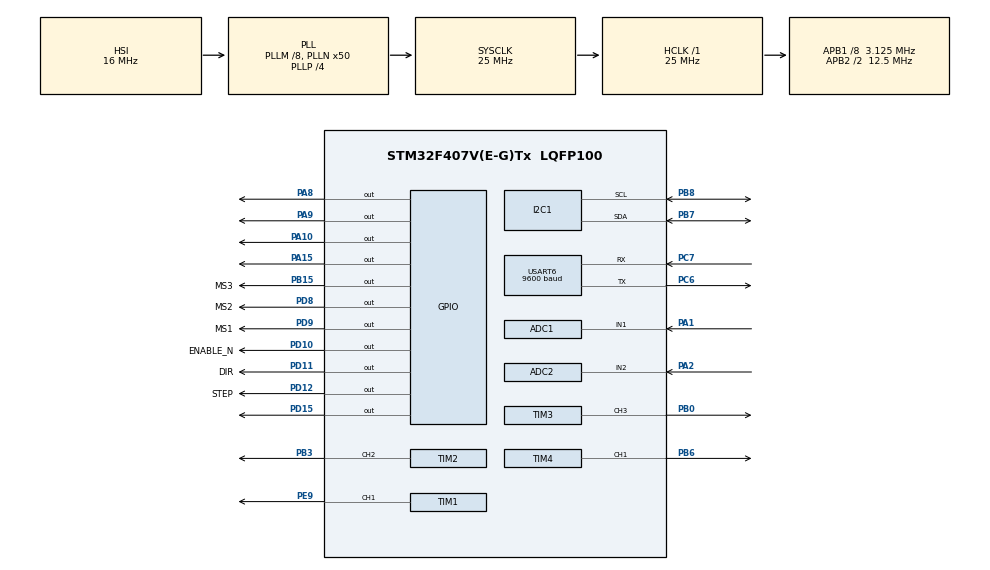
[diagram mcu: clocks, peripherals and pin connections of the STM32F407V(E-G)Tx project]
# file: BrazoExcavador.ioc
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ADC1.Channel-0\#ChannelRegularConversion=ADC_CHANNEL_1
ADC1.ContinuousConvMode=DISABLE
ADC1.Mode=ADC_DUALMODE_REGSIMULT
ADC1.NbrOfConversionFlag=1
ADC1.Rank-0\#ChannelRegularConversion=1
ADC1.SamplingTime-0\#ChannelRegularConversion=ADC_SAMPLETIME_3CYCLES
ADC1.master=1
ADC2.Channel-0\#ChannelRegularConversion=ADC_CHANNEL_2
ADC2.ContinuousConvMode=DISABLE
ADC2.Mode=ADC_DUALMODE_REGSIMULT
ADC2.NbrOfConversionFlag=1
ADC2.Rank-0\#ChannelRegularConversion=1
ADC2.SamplingTime-0\#ChannelRegularConversion=ADC_SAMPLETIME_3CYCLES
Mcu.Family=STM32F4
Mcu.Name=STM32F407V(E-G)Tx
Mcu.Package=LQFP100
NVIC.PriorityGroup=NVIC_PRIORITYGROUP_0
NVIC.USART6_IRQn=true\:0\:0\:false\:false\:true\:true\:true\:true
PA1.Signal=ADCx_IN1
PA10.Signal=GPIO_Output
PA15.Signal=GPIO_Output
PA2.Signal=ADCx_IN2
PA8.Signal=GPIO_Output
PA9.Signal=GPIO_Output
PB0.Signal=S_TIM3_CH3
PB15.GPIO_Label=MS3
PB15.Signal=GPIO_Output
PB3.Signal=S_TIM2_CH2
PB6.Signal=S_TIM4_CH1
PB7.Mode=I2C
PB7.Signal=I2C1_SDA
PB8.Mode=I2C
PB8.Signal=I2C1_SCL
PC6.Mode=Asynchronous
PC6.Signal=USART6_TX
PC7.Mode=Asynchronous
PC7.Signal=USART6_RX
PD10.GPIO_Label=ENABLE_N
PD10.Signal=GPIO_Output
PD11.GPIO_Label=DIR
PD11.Signal=GPIO_Output
PD12.GPIO_Label=STEP
PD12.Signal=GPIO_Output
PD15.Signal=GPIO_Output
PD8.GPIO_Label=MS2
PD8.Signal=GPIO_Output
PD9.GPIO_Label=MS1
PD9.Signal=GPIO_Output
PE9.Signal=S_TIM1_CH1
ProjectManager.HeapSize=0x200
ProjectManager.StackSize=0x400
ProjectManager.TargetToolchain=STM32CubeIDE
RCC.48MHZClocksFreq_Value=14285714.285714285
RCC.AHBFreq_Value=25000000
RCC.APB1CLKDivider=RCC_HCLK_DIV8
RCC.APB1Freq_Value=3125000
RCC.APB1TimFreq_Value=6250000
RCC.APB2CLKDivider=RCC_HCLK_DIV2
RCC.APB2Freq_Value=12500000
RCC.APB2TimFreq_Value=25000000
RCC.CortexFreq_Value=25000000
RCC.HCLKFreq_Value=25000000
RCC.HSE_VALUE=8000000
RCC.HSI_VALUE=16000000
RCC.LSE_VALUE=32768
RCC.PLLM=8
RCC.PLLN=50
RCC.PLLP=RCC_PLLP_DIV4
RCC.PLLQ=7
RCC.SYSCLKFreq_VALUE=25000000
RCC.SYSCLKSource=RCC_SYSCLKSOURCE_PLLCLK
RCC.VCOOutputFreq_Value=100000000
SH.ADCx_IN1.0=ADC1_IN1,IN1
SH.ADCx_IN2.0=ADC2_IN2,IN2
SH.S_TIM1_CH1.0=TIM1_CH1,PWM Generation1 CH1
SH.S_TIM2_CH2.0=TIM2_CH2,PWM Generation2 CH2
SH.S_TIM3_CH3.0=TIM3_CH3,PWM Generation3 CH3
SH.S_TIM4_CH1.0=TIM4_CH1,Output Compare1 CH1
TIM1.Channel-PWM\ Generation1\ CH1=TIM_CHANNEL_1
TIM1.Period=2000
TIM1.Prescaler=160-1
TIM2.Channel-PWM\ Generation2\ CH2=TIM_CHANNEL_2
TIM2.Period=250-1
TIM2.Prescaler=2-1
TIM3.Channel-PWM\ Generation3\ CH3=TIM_CHANNEL_3
TIM3.Period=250-1
TIM3.Prescaler=2-1
TIM4.Channel-Output\ Compare1\ CH1=TIM_CHANNEL_1
TIM4.Prescaler=12
USART6.BaudRate=9600
USART6.VirtualMode=VM_ASYNC
board=STM32F407G-DISC1

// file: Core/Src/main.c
/* USER CODE BEGIN Header */
/**
  **************************
  * @file           : main.c
  * @brief          : Main program body
  **************************
  * @attention
  *
  * Copyright (c) 2025 STMicroelectronics.
  * All rights reserved.
  *
  * This software is licensed under terms that can be found in the LICENSE file
  * in the root directory of this software component.
  * If no LICENSE file comes with this software, it is provided AS-IS.
  *
  **************************
  */
/* USER CODE END Header */
#include "main.h"

/* USER CODE BEGIN Includes */
#include <string.h>
#include <stdio.h>
#include "i2c-lcd.h"
#include "Cinematica.h"
/* USER CODE END Includes */

/* USER CODE BEGIN PD */
#define BUFFERSIZE 32
#define ADCResolution 4096
#define ServoRange 120
#define PWM_MAX __HAL_TIM_GET_AUTORELOAD(&htim1)
/* USER CODE END PD */

ADC_HandleTypeDef hadc1;
ADC_HandleTypeDef hadc2;

I2C_HandleTypeDef hi2c1;

TIM_HandleTypeDef htim1;
TIM_HandleTypeDef htim2;
TIM_HandleTypeDef htim3;
TIM_HandleTypeDef htim4;

UART_HandleTypeDef huart6;

/* USER CODE BEGIN PV */
Position p = {15.0f, 0.0f, 12.0f};
float orientacion = 45.0f;                 // Ejemplo
/* USER CODE END PV */

void SystemClock_Config(void);
static void MX_GPIO_Init(void);
static void MX_USART6_UART_Init(void);
static void MX_TIM1_Init(void);
static void MX_TIM2_Init(void);
static void MX_TIM3_Init(void);
static void MX_I2C1_Init(void);
static void MX_TIM4_Init(void);
static void MX_ADC1_Init(void);
static void MX_ADC2_Init(void);

/* USER CODE BEGIN 0 */

volatile uint8_t turn=0;

uint32_t adc_val = 0;
volatile uint8_t adc_ready1 = 0;
volatile uint8_t adc_ready2 = 0;
uint32_t lectura1_buff[10];
uint32_t lectura2_buff[10];
uint32_t iter1=0;
uint32_t iter2=0;

uint32_t lectura1_adc;
uint32_t var=0;
uint32_t var1=0;
int32_t lectura1_grados;
float lectura1_volt=0;
int32_t lectura2_adc;
int32_t lectura2_grados;
float lectura2_volt=0;

//Motor 1
float error1=0;
float error_previo1=0;
float derivada1=0;
float integral1=0;
float salida1=0;
//Motor 2
float error2;
float error_previo2;
float derivada2;
float integral2;
float salida2;

float dt=0.01;

float Posicion_deseada_motor_1=0.7;
float Posicion_deseada_motor_2=1;

float Kp1=69.246;	//69.246
float Ki1=0;
float Kd1=0; 	 	//0.69
float Kp2=69.246;
float Ki2=0;
float Kd2=0;

char readBuf[BUFFERSIZE];  // Buffer para recibir la cadena completa
volatile uint8_t flag = 0; // Indica cuándo se ha recibido una cadena completa
         // Caracter recibido
//uint8_t step_index = 0;
//uint8_t step_state = 0;
volatile uint8_t step_pulse_state = 0; // 0 = inactivo, 1 = STEP HIGH esperando STEP LOW
volatile float angle[4] = {};
volatile float angle_buf[4] = {};
volatile uint8_t angle_ready[4] = {};
volatile uint8_t moving = 0;
volatile float angle_difference = 0;

volatile uint8_t bluetoothSetter = 0; // Iniciar la transmisión bluetooth
volatile uint8_t x,y,z = 0;

Position DesiredPosition = {};

void HAL_UART_RxCpltCallback(UART_HandleTypeDef *UartHandle) {

	static uint8_t index = 1; // Posición en el buffer
	static char readChar;
	if (UartHandle->Instance == USART6) {
		HAL_UART_Receive_IT(&huart6, (uint8_t *)&readChar, 1); // Recibir próximo carácter

		if (readChar == '%'||readChar == '\000') { // Indicador de fin de mensaje
			readBuf[index] = '\0'; // Terminar el string
			flag = 1;              // Indicar que el mensaje está listo
			index = 0;             // Reiniciar el índice
			HAL_UART_Receive_IT(&huart6, (uint8_t *)&readBuf, 1); // Iniciar recepción
		} else if (index < BUFFERSIZE - 1) {
			readBuf[index++] = readChar; // Guardar carácter en el buffer
		}
	}
}

uint32_t media(uint32_t *buff){
	uint32_t sum = 0;
	for (int i = 0; i < 10; i++) {sum += buff[i];}
	return sum / 10;
}

//void HAL_ADC_ConvCpltCallback(ADC_HandleTypeDef* hadc) {
//
//
//
//    if (hadc->Instance == ADC1 && turn%2 == 0) {
//    	lectura1_buff[iter1] = HAL_ADC_GetValue(&hadc1);
//    	lectura2_buff[iter2] = HAL_ADC_GetValue(&hadc2);
//    	iter1++;
//    	if (iter1==10)iter1=0;
//    		lectura1_adc=media(lectura1_buff);
//    		adc_ready1 = 1;
//    	turn++;
//
//	iter2++;
//	if (iter2==10)
//		iter2=0;
//		lectura2_adc=media(lectura2_buff);
//		adc_ready2 = 1;
//		HAL_ADC_Start_IT(&hadc1);
//
//    }
////    if (hadc->Instance == ADC2) {
////		lectura2_buff[iter2] = HAL_ADC_GetValue(&hadc2);
////		iter2++;
////		if (iter2==10)
////			iter2=0;
////			lectura2_adc=media(lectura2_buff);
////			adc_ready2 = 1;
////		turn++;
////
////	}
//}

void HAL_TIM_OC_DelayElapsedCallback(TIM_HandleTypeDef *htim) {
    if (htim->Instance == TIM4 && htim->Channel == HAL_TIM_ACTIVE_CHANNEL_1) {
        if (step_pulse_state == 1) {
            HAL_GPIO_WritePin(GPIOD, GPIO_PIN_12, GPIO_PIN_RESET); // STEP LOW
            step_pulse_state = 0;
            HAL_TIM_OC_Stop_IT(&htim4, TIM_CHANNEL_1); // Paramos el timer hasta el siguiente paso
        }
    }
}

uint32_t readADC(ADC_HandleTypeDef* hadc){

	uint32_t value;

	HAL_ADC_Start(hadc);
	if (HAL_ADC_PollForConversion(hadc, HAL_MAX_DELAY == HAL_OK)){
		value = HAL_ADC_GetValue(hadc);
	}
	HAL_ADC_Stop(hadc);
	return value;
}

void SetPosition(TIM_HandleTypeDef *htim,uint16_t PulseWidth){
		if(htim->Instance == TIM1)
			__HAL_TIM_SET_COMPARE(htim, TIM_CHANNEL_1, PulseWidth);
	}

void step_once_non_blocking(void) {
    step_pulse_state = 1;
    HAL_GPIO_WritePin(GPIOD, GPIO_PIN_12, GPIO_PIN_SET); // STEP HIGH

    // Programamos evento de 1 ms después
    __HAL_TIM_SET_COMPARE(&htim4, TIM_CHANNEL_1,__HAL_TIM_GET_COUNTER(&htim4) + 1000); // 1000 ticks = 1ms si timer a 1MHz
    HAL_TIM_OC_Start_IT(&htim4, TIM_CHANNEL_1);
}

//----------------------------------End DC Motor Code--------------------------------------//

void ParameterRegister (void){
	//	Otra posible opción es que el panel informe de operación a realizar
	// 	Por ejemplo: recogiendo arena o descargando arena. Se decidirá posteriormente
	lcd_enviar("Voltaje:",0,0);
	lcd_enviar("Intensidad:",1,0);
}

void set_stepper(void){ //Para ajustar a 1/16 de paso
	HAL_GPIO_WritePin(GPIOD, GPIO_PIN_9, GPIO_PIN_SET);   // HIGH
	HAL_GPIO_WritePin(GPIOD, GPIO_PIN_8, GPIO_PIN_SET);   // HIGH
	HAL_GPIO_WritePin(GPIOB, GPIO_PIN_15, GPIO_PIN_SET); // HIGH
}

void step_once(void) {
    HAL_GPIO_WritePin(GPIOD, GPIO_PIN_12, GPIO_PIN_SET);   // STEP HIGH
    HAL_Delay(1);                                          // 1 ms (ajustable)
    HAL_GPIO_WritePin(GPIOD, GPIO_PIN_12, GPIO_PIN_RESET); // STEP LOW
    HAL_Delay(1);                                          // Delay entre pasos
}

void move_stepper_degrees(float angle, uint8_t dir) {
    int steps = (int)((angle / 360.0) * 3200 * 91.0/35.0);  // calcular pasos
    HAL_GPIO_WritePin(GPIOD, GPIO_PIN_11, dir); // Dirección: 0 = CW, 1 = CCW
    HAL_GPIO_WritePin(GPIOD, GPIO_PIN_10, GPIO_PIN_RESET); // ENABLE_N: LOW para habilitar

    for (int i = 0; i < steps; i++) {
        step_once();
    }
}

int strtoint(char readBuf[]) {

    int i = 0;
    int angle = 0;

    if((readBuf[0]='!'||'$'||'&'||'/')){
    	// Iteración hasta encontrar el final de la cadena
    	    while (readBuf[i] != '\0' || readBuf[i] != '\000') {  // Finaliza al llegar a '\0' o '\000'

    			// Solo se procesan los caracteres numéricos
    				if (readBuf[i] >= '0' && readBuf[i] <= '9') {
    					angle = angle * 10 + (readBuf[i] - '0');
    				}

    	        i++;  // Se avanza al siguiente carácter
    	    }

    }

    return angle;
}

void BufferCleaner(void){

	for(uint8_t j=0; j<BUFFERSIZE; j++) readBuf[j];
}

void PositionManager(void) {

	uint8_t i = 0;
	int temp = 0;	// Valor temporal de la posición enviada
	char axis = 0;	// Eje a estudio

	    while (i < BUFFERSIZE && readBuf[i] != '\0') {
	        char c = readBuf[i];

	        // Detectar letras de ejs coordenados
	        if (c == 'X' || c == 'Y' || c == 'Z') {
	            axis = c;
	            temp = 0;
	            i++; // avanzar al siguiente carácter

	            // Acumular números mientras sean dígitos válidos
	            while (i < BUFFERSIZE && readBuf[i] >= '0' && readBuf[i] <= '9') {
	                temp = temp * 10 + (readBuf[i] - '0');
	                i++;
	            }

	            // Almacenar en el eje correspondiente
	            if (axis == 'X') x = temp;
	            else if (axis == 'Y') y = temp;
	            else if (axis == 'Z') z = temp;
	        } else {
	            i++;
	        }
	    }
}

void GeneralMoveMotor(uint8_t n)
{
	float angle_aux = 0;

	if((angle_aux = strtoint(readBuf)) != angle[n]){
		angle_buf[n] = angle[n];
		angle[n] = angle_aux;
		angle_ready[n] = 1;
	}
}

void BluetoothAction(void){
	if(flag){

		flag = 0;

		switch(readBuf[0]){
				case '!':
					if(!moving){

						GeneralMoveMotor(0);

						if(angle_ready[0]){

							  angle_ready[0] = 0;
							  angle_difference = angle[0] - angle_buf[0];

							  if(angle[0] >= angle_buf[0]) {
									move_stepper_degrees(angle_difference, 1);
								}

							else {
									move_stepper_degrees(-angle_difference, 0);
								}
					  }
					}

					break;
				case '$':
					if(!moving){

						GeneralMoveMotor(1);

						if(angle_ready[1]){

							  angle_ready[1] = 0;
							  angle_difference = angle[1] - angle_buf[1];

							  if(angle[1] >= angle_buf[1]) {
								  SetPosition(&htim1,angle[1]);
							  }

							else {
								  SetPosition(&htim1,angle[1]);
								}
					  }
					}
						break;
				case '&':
					if(!moving){

						GeneralMoveMotor(2);

						if(angle_ready[2]){

							  angle_ready[2] = 0;
							  angle_difference = angle[2] - angle_buf[2];

							  if(angle[2] >= angle_buf[2]) {
								  //Poner la del motor
							  }

							else {
								  //Poner la del motor
								}
					  }
					}
						break;
				case '/':
					if(!moving){

						GeneralMoveMotor(3);

						if(angle_ready[3]){

							  angle_ready[3] = 0;
							  angle_difference = angle[3] - angle_buf[3];

							  if(angle[3] >= angle_buf[3]) {
								  //Poner la del motor
							  }

							else {
								  //Poner la del motor
								}
					  }
					}
						break;
				case '?':
					if(!moving){
						//Angles inverse_kinematics(Position p, float desired_orientation) {
						PositionManager();
					}
						break;
			}

		BufferCleaner();
	}

}

void BluetoothSetter(void){

	if(readBuf[24] =='t' && readBuf[25] == 'h' )
		BufferCleaner();

}

void ReadADC(){

	HAL_ADC_Start(&hadc1);
	HAL_ADC_PollForConversion(&hadc1, HAL_MAX_DELAY);
	lectura1_adc=HAL_ADC_GetValue(&hadc1);
	HAL_ADC_Stop(&hadc1);

	HAL_ADC_Start(&hadc2);
		HAL_ADC_PollForConversion(&hadc2, HAL_MAX_DELAY);
		lectura2_adc=HAL_ADC_GetValue(&hadc2);
		HAL_ADC_Stop(&hadc2);
}

void Change_DigVolt(float adc_val){
	lectura1_volt=(3.3*adc_val)/4095.0;
}

void Change_AngVolt(float adc_val){
	lectura1_volt=(3.3*adc_val)/240;
}

void ControlPID(float setpoint, float medida, float *integral, float *error_previo, uint8_t Motor) {
	float derivada, salida;
	static float error = 0;

	// Término integral con anti-windup
	*integral += error * dt;
	if (*integral > 1.0f) *integral = 1.0f;       // Saturación superior
	if (*integral < -1.0f) *integral = -1.0f;     // Saturación inferior

	if (Motor==1){

		error1=setpoint-medida;
		derivada=(error1 - *error_previo)/dt;

		salida1 = Kp1 * (error1 + Ki1 * *integral + Kd1 * derivada);

		if (salida1 > 0){
			HAL_GPIO_WritePin(GPIOA, GPIO_PIN_8, GPIO_PIN_SET);
			HAL_GPIO_WritePin(GPIOA,GPIO_PIN_9,GPIO_PIN_RESET);
		} else {
			HAL_GPIO_WritePin(GPIOA,GPIO_PIN_8,GPIO_PIN_RESET);
			HAL_GPIO_WritePin(GPIOA,GPIO_PIN_9,GPIO_PIN_SET);
			salida1= -salida1;  //Hacer PWM positivo
		}
		if(salida1 >69.0f) salida1=69.0f;
		__HAL_TIM_SET_COMPARE(&htim2, TIM_CHANNEL_2, salida1 * 3.623);
		}

	if (Motor==2){
		error2=setpoint-medida;
		derivada=(error2 - *error_previo)/dt;

		salida = Kp2 * (error2 + Ki2 * *integral + Kd2 * derivada);

			if (salida > 0){
				HAL_GPIO_WritePin(GPIOA, GPIO_PIN_10, GPIO_PIN_SET);
				HAL_GPIO_WritePin(GPIOA,GPIO_PIN_15,GPIO_PIN_RESET);
			} else {
				HAL_GPIO_WritePin(GPIOA,GPIO_PIN_10,GPIO_PIN_RESET);
				HAL_GPIO_WritePin(GPIOA,GPIO_PIN_15,GPIO_PIN_SET);
				salida= -salida;  //Hacer PWM positivo
				if(salida >69.0f) salida=69.0f;
				__HAL_TIM_SET_COMPARE(&htim3, TIM_CHANNEL_3, salida * 3.623);
			}}
	*error_previo= error;

	}

void FeedBackMotor(){

	//ReadADC(&hadc1,&lectura1_adc);
	//ReadADC(&hadc1,&lectura2_adc);

	HAL_ADC_Start_IT(&hadc1);
	HAL_ADC_Start_IT(&hadc2);

	Change_DigVolt(lectura1_adc);
	Change_DigVolt(lectura2_adc);

	ControlPID(Posicion_deseada_motor_1,lectura1_volt,&integral1,&error_previo1,1);
	ControlPID(Posicion_deseada_motor_2,lectura2_volt,&integral2,&error_previo2,2);

}

uint16_t angle_to_pwm(float angle_deg, float min_deg, float max_deg, uint16_t pwm_min, uint16_t pwm_max) {
    if (angle_deg < min_deg) angle_deg = min_deg;
    if (angle_deg > max_deg) angle_deg = max_deg;
    return pwm_min + (uint16_t)((angle_deg - min_deg) * (pwm_max - pwm_min) / (max_deg - min_deg));
}

void EjecutarCinematica(Position posicion_deseada, float orientacion_deseada) {
    // Calcula los ángulos deseados usando cinemática inversa
    Angles a = inverse_kinematics(posicion_deseada, orientacion_deseada);

    // --- θ1: motor paso a paso (base)
        static float theta1_actual = 0.0f;
        float delta_theta1 = a.theta1 - theta1_actual;
        if (fabs(delta_theta1) > 1.0f) {
            uint8_t dir = (delta_theta1 > 0) ? 1 : 0;
            move_stepper_degrees(fabs(delta_theta1), dir);
            theta1_actual = a.theta1;
        }

    // --- θ2: servo motor (hombro)
    uint16_t pwm_theta2 = angle_to_pwm(a.theta2, 0, 180, 500, 2500);
    __HAL_TIM_SET_COMPARE(&htim2, TIM_CHANNEL_2, pwm_theta2);

    // --- θ3: motor DC (codo)
    Posicion_deseada_motor_1 = (3.3f * a.theta3) / 240.0f;  // Ajusta si tu escala es distinta

    // --- θ4: motor DC (efector)
    Posicion_deseada_motor_2 = (3.3f * a.theta4) / 240.0f;

    // Ejecuta control PD en ambos motores DC
    FeedBackMotor();

}

/* USER CODE END 0 */

int main(void)
{

  /* MCU Configuration--------------------------------------------------------*/

  /* Reset of all peripherals, Initializes the Flash interface and the Systick. */
  HAL_Init();

  /* Configure the system clock */
  SystemClock_Config();

  /* Initialize all configured peripherals */
  MX_GPIO_Init();
  MX_USART6_UART_Init();
  MX_TIM1_Init();
  MX_TIM2_Init();
  MX_TIM3_Init();
  MX_I2C1_Init();
  MX_TIM4_Init();
  MX_ADC1_Init();
  MX_ADC2_Init();
  /* USER CODE BEGIN 2 */
  lcd_init();
  set_stepper();
  HAL_TIM_OC_Start_IT(&htim2, TIM_CHANNEL_1);
//	HAL_ADC_Start_IT(&hadc1);
	HAL_TIM_PWM_Start(&htim2,TIM_CHANNEL_2);
	HAL_TIM_PWM_Start(&htim3,TIM_CHANNEL_3);
  /* USER CODE END 2 */

  /* Infinite loop */
  /* USER CODE BEGIN WHILE */

  HAL_UART_Receive_IT(&huart6, (uint8_t *)readBuf, 1); // Iniciar recepción

  while (1)
  {
    /* USER CODE END WHILE */

    /* USER CODE BEGIN 3 */
	  //	  ParameterRegister();

//	  	  BluetoothSetter();
//
//	  	  BluetoothAction();

	  // Start dual mode conversion
	  HAL_ADC_Start(&hadc1);  // ¡IMPORTANTE! Solo se inicia el ADC1 en modo dual
	  HAL_ADC_PollForConversion(&hadc1, HAL_MAX_DELAY);

	  // Leer ambos resultados
	  lectura1_adc=readADC(&hadc1); // Resultado del ADC1
	  lectura2_adc=readADC(&hadc2);  // Resultado del ADC2

//	  	  ReadADC();
//
//	  	  //EjecutarCinematica(p, orientacion);
//	  if (adc_ready1==1) {
//	 	  	adc_ready1 = 0;
//	 	  //	var1++;
//	 	  	Change_DigVolt(lectura1_adc);
//	 	  	ControlPID(Posicion_deseada_motor_1,lectura1_volt,&integral1,&error_previo1,1);
//	 	  	Change_DigVolt(lectura2_adc);
//			ControlPID(Posicion_deseada_motor_2,lectura2_volt,&integral2,&error_previo2,2);
//	 	  	//Posicion_deseada_motor_1+=1;
//	 	  }

//	  if (adc_ready2==1) {
//	  	 	  	adc_ready2 = 0;
//	  	 	    HAL_ADC_Start_IT(&hadc3);
//	  	 	  	//var++;
//
//	  	 	  	//Posicion_deseada_motor_1+=1;
//	  	 	  }
	 //	  var=HAL_GetTick();
	 //	  if(var-var1==2000){
	 //		  var1=var;
	 //	  if(Posicion_deseada_motor_1<1) Posicion_deseada_motor_1+=1;
	 //	  else Posicion_deseada_motor_1+=0;
	 //	  }

	  //	  move_stepper_degrees(270,1);
	  //	  HAL_Delay(5000);
	  //	  move_stepper_degrees(180,0);
	  //	  HAL_Delay(5000);

	  //	  HAL_GPIO_WritePin(GPIOD, GPIO_PIN_11, GPIO_PIN_RESET); // Dirección: 0 ó 1
	  //	  HAL_GPIO_WritePin(GPIOD, GPIO_PIN_10, GPIO_PIN_RESET); // ENABLE_N: LOW para activar
	  //
	  //	  for (int i = 0; i < 3200; i++) { // 3200 pasos = 1 vuelta (con 1/16 microstepping)
	  //
	  //	      step_once();
	  //	  }

	    }

  /* USER CODE END 3 */
}

void SystemClock_Config(void)
{
  RCC_OscInitTypeDef RCC_OscInitStruct = {0};
  RCC_ClkInitTypeDef RCC_ClkInitStruct = {0};

  /** Configure the main internal regulator output voltage
  */
  __HAL_RCC_PWR_CLK_ENABLE();
  __HAL_PWR_VOLTAGESCALING_CONFIG(PWR_REGULATOR_VOLTAGE_SCALE1);

  /** Initializes the RCC Oscillators according to the specified parameters
  * in the RCC_OscInitTypeDef structure.
  */
  RCC_OscInitStruct.OscillatorType = RCC_OSCILLATORTYPE_HSI;
  RCC_OscInitStruct.HSIState = RCC_HSI_ON;
  RCC_OscInitStruct.HSICalibrationValue = RCC_HSICALIBRATION_DEFAULT;
  RCC_OscInitStruct.PLL.PLLState = RCC_PLL_ON;
  RCC_OscInitStruct.PLL.PLLSource = RCC_PLLSOURCE_HSI;
  RCC_OscInitStruct.PLL.PLLM = 8;
  RCC_OscInitStruct.PLL.PLLN = 50;
  RCC_OscInitStruct.PLL.PLLP = RCC_PLLP_DIV4;
  RCC_OscInitStruct.PLL.PLLQ = 7;
  if (HAL_RCC_OscConfig(&RCC_OscInitStruct) != HAL_OK)
  {
    Error_Handler();
  }

  /** Initializes the CPU, AHB and APB buses clocks
  */
  RCC_ClkInitStruct.ClockType = RCC_CLOCKTYPE_HCLK|RCC_CLOCKTYPE_SYSCLK
                              |RCC_CLOCKTYPE_PCLK1|RCC_CLOCKTYPE_PCLK2;
  RCC_ClkInitStruct.SYSCLKSource = RCC_SYSCLKSOURCE_PLLCLK;
  RCC_ClkInitStruct.AHBCLKDivider = RCC_SYSCLK_DIV1;
  RCC_ClkInitStruct.APB1CLKDivider = RCC_HCLK_DIV8;
  RCC_ClkInitStruct.APB2CLKDivider = RCC_HCLK_DIV2;

  if (HAL_RCC_ClockConfig(&RCC_ClkInitStruct, FLASH_LATENCY_0) != HAL_OK)
  {
    Error_Handler();
  }
}

static void MX_ADC1_Init(void)
{

  ADC_MultiModeTypeDef multimode = {0};
  ADC_ChannelConfTypeDef sConfig = {0};

  /** Configure the global features of the ADC (Clock, Resolution, Data Alignment and number of conversion)
  */
  hadc1.Instance = ADC1;
  hadc1.Init.ClockPrescaler = ADC_CLOCK_SYNC_PCLK_DIV2;
  hadc1.Init.Resolution = ADC_RESOLUTION_12B;
  hadc1.Init.ScanConvMode = DISABLE;
  hadc1.Init.ContinuousConvMode = DISABLE;
  hadc1.Init.DiscontinuousConvMode = DISABLE;
  hadc1.Init.ExternalTrigConvEdge = ADC_EXTERNALTRIGCONVEDGE_NONE;
  hadc1.Init.ExternalTrigConv = ADC_SOFTWARE_START;
  hadc1.Init.DataAlign = ADC_DATAALIGN_RIGHT;
  hadc1.Init.NbrOfConversion = 1;
  hadc1.Init.DMAContinuousRequests = DISABLE;
  hadc1.Init.EOCSelection = ADC_EOC_SINGLE_CONV;
  if (HAL_ADC_Init(&hadc1) != HAL_OK)
  {
    Error_Handler();
  }

  /** Configure the ADC multi-mode
  */
  multimode.Mode = ADC_DUALMODE_REGSIMULT;
  multimode.DMAAccessMode = ADC_DMAACCESSMODE_DISABLED;
  multimode.TwoSamplingDelay = ADC_TWOSAMPLINGDELAY_5CYCLES;
  if (HAL_ADCEx_MultiModeConfigChannel(&hadc1, &multimode) != HAL_OK)
  {
    Error_Handler();
  }

  /** Configure for the selected ADC regular channel its corresponding rank in the sequencer and its sample time.
  */
  sConfig.Channel = ADC_CHANNEL_1;
  sConfig.Rank = 1;
  sConfig.SamplingTime = ADC_SAMPLETIME_3CYCLES;
  if (HAL_ADC_ConfigChannel(&hadc1, &sConfig) != HAL_OK)
  {
    Error_Handler();
  }

}

static void MX_ADC2_Init(void)
{

  ADC_ChannelConfTypeDef sConfig = {0};

  /** Configure the global features of the ADC (Clock, Resolution, Data Alignment and number of conversion)
  */
  hadc2.Instance = ADC2;
  hadc2.Init.ClockPrescaler = ADC_CLOCK_SYNC_PCLK_DIV2;
  hadc2.Init.Resolution = ADC_RESOLUTION_12B;
  hadc2.Init.ScanConvMode = DISABLE;
  hadc2.Init.ContinuousConvMode = DISABLE;
  hadc2.Init.DiscontinuousConvMode = DISABLE;
  hadc2.Init.DataAlign = ADC_DATAALIGN_RIGHT;
  hadc2.Init.NbrOfConversion = 1;
  hadc2.Init.DMAContinuousRequests = DISABLE;
  hadc2.Init.EOCSelection = ADC_EOC_SINGLE_CONV;
  if (HAL_ADC_Init(&hadc2) != HAL_OK)
  {
    Error_Handler();
  }

  /** Configure for the selected ADC regular channel its corresponding rank in the sequencer and its sample time.
  */
  sConfig.Channel = ADC_CHANNEL_2;
  sConfig.Rank = 1;
  sConfig.SamplingTime = ADC_SAMPLETIME_3CYCLES;
  if (HAL_ADC_ConfigChannel(&hadc2, &sConfig) != HAL_OK)
  {
    Error_Handler();
  }

}

static void MX_I2C1_Init(void)
{

  hi2c1.Instance = I2C1;
  hi2c1.Init.ClockSpeed = 100000;
  hi2c1.Init.DutyCycle = I2C_DUTYCYCLE_2;
  hi2c1.Init.OwnAddress1 = 0;
  hi2c1.Init.AddressingMode = I2C_ADDRESSINGMODE_7BIT;
  hi2c1.Init.DualAddressMode = I2C_DUALADDRESS_DISABLE;
  hi2c1.Init.OwnAddress2 = 0;
  hi2c1.Init.GeneralCallMode = I2C_GENERALCALL_DISABLE;
  hi2c1.Init.NoStretchMode = I2C_NOSTRETCH_DISABLE;
  if (HAL_I2C_Init(&hi2c1) != HAL_OK)
  {
    Error_Handler();
  }

}

static void MX_TIM1_Init(void)
{

  TIM_MasterConfigTypeDef sMasterConfig = {0};
  TIM_OC_InitTypeDef sConfigOC = {0};
  TIM_BreakDeadTimeConfigTypeDef sBreakDeadTimeConfig = {0};

  htim1.Instance = TIM1;
  htim1.Init.Prescaler = 160-1;
  htim1.Init.CounterMode = TIM_COUNTERMODE_UP;
  htim1.Init.Period = 2000;
  htim1.Init.ClockDivision = TIM_CLOCKDIVISION_DIV1;
  htim1.Init.RepetitionCounter = 0;
  htim1.Init.AutoReloadPreload = TIM_AUTORELOAD_PRELOAD_DISABLE;
  if (HAL_TIM_PWM_Init(&htim1) != HAL_OK)
  {
    Error_Handler();
  }
  sMasterConfig.MasterOutputTrigger = TIM_TRGO_RESET;
  sMasterConfig.MasterSlaveMode = TIM_MASTERSLAVEMODE_DISABLE;
  if (HAL_TIMEx_MasterConfigSynchronization(&htim1, &sMasterConfig) != HAL_OK)
  {
    Error_Handler();
  }
  sConfigOC.OCMode = TIM_OCMODE_PWM1;
  sConfigOC.Pulse = 0;
  sConfigOC.OCPolarity = TIM_OCPOLARITY_HIGH;
  sConfigOC.OCNPolarity = TIM_OCNPOLARITY_HIGH;
  sConfigOC.OCFastMode = TIM_OCFAST_DISABLE;
  sConfigOC.OCIdleState = TIM_OCIDLESTATE_RESET;
  sConfigOC.OCNIdleState = TIM_OCNIDLESTATE_RESET;
  if (HAL_TIM_PWM_ConfigChannel(&htim1, &sConfigOC, TIM_CHANNEL_1) != HAL_OK)
  {
    Error_Handler();
  }
  sBreakDeadTimeConfig.OffStateRunMode = TIM_OSSR_DISABLE;
  sBreakDeadTimeConfig.OffStateIDLEMode = TIM_OSSI_DISABLE;
  sBreakDeadTimeConfig.LockLevel = TIM_LOCKLEVEL_OFF;
  sBreakDeadTimeConfig.DeadTime = 0;
  sBreakDeadTimeConfig.BreakState = TIM_BREAK_DISABLE;
  sBreakDeadTimeConfig.BreakPolarity = TIM_BREAKPOLARITY_HIGH;
  sBreakDeadTimeConfig.AutomaticOutput = TIM_AUTOMATICOUTPUT_DISABLE;
  if (HAL_TIMEx_ConfigBreakDeadTime(&htim1, &sBreakDeadTimeConfig) != HAL_OK)
  {
    Error_Handler();
  }
  HAL_TIM_MspPostInit(&htim1);

}

static void MX_TIM2_Init(void)
{

  TIM_MasterConfigTypeDef sMasterConfig = {0};
  TIM_OC_InitTypeDef sConfigOC = {0};

  htim2.Instance = TIM2;
  htim2.Init.Prescaler = 2-1;
  htim2.Init.CounterMode = TIM_COUNTERMODE_UP;
  htim2.Init.Period = 250-1;
  htim2.Init.ClockDivision = TIM_CLOCKDIVISION_DIV1;
  htim2.Init.AutoReloadPreload = TIM_AUTORELOAD_PRELOAD_DISABLE;
  if (HAL_TIM_PWM_Init(&htim2) != HAL_OK)
  {
    Error_Handler();
  }
  sMasterConfig.MasterOutputTrigger = TIM_TRGO_RESET;
  sMasterConfig.MasterSlaveMode = TIM_MASTERSLAVEMODE_DISABLE;
  if (HAL_TIMEx_MasterConfigSynchronization(&htim2, &sMasterConfig) != HAL_OK)
  {
    Error_Handler();
  }
  sConfigOC.OCMode = TIM_OCMODE_PWM1;
  sConfigOC.Pulse = 0;
  sConfigOC.OCPolarity = TIM_OCPOLARITY_HIGH;
  sConfigOC.OCFastMode = TIM_OCFAST_DISABLE;
  if (HAL_TIM_PWM_ConfigChannel(&htim2, &sConfigOC, TIM_CHANNEL_2) != HAL_OK)
  {
    Error_Handler();
  }
  HAL_TIM_MspPostInit(&htim2);

}

static void MX_TIM3_Init(void)
{

  TIM_MasterConfigTypeDef sMasterConfig = {0};
  TIM_OC_InitTypeDef sConfigOC = {0};

  htim3.Instance = TIM3;
  htim3.Init.Prescaler = 2-1;
  htim3.Init.CounterMode = TIM_COUNTERMODE_UP;
  htim3.Init.Period = 250-1;
  htim3.Init.ClockDivision = TIM_CLOCKDIVISION_DIV1;
  htim3.Init.AutoReloadPreload = TIM_AUTORELOAD_PRELOAD_DISABLE;
  if (HAL_TIM_PWM_Init(&htim3) != HAL_OK)
  {
    Error_Handler();
  }
  sMasterConfig.MasterOutputTrigger = TIM_TRGO_RESET;
  sMasterConfig.MasterSlaveMode = TIM_MASTERSLAVEMODE_DISABLE;
  if (HAL_TIMEx_MasterConfigSynchronization(&htim3, &sMasterConfig) != HAL_OK)
  {
    Error_Handler();
  }
  sConfigOC.OCMode = TIM_OCMODE_PWM1;
  sConfigOC.Pulse = 0;
  sConfigOC.OCPolarity = TIM_OCPOLARITY_HIGH;
  sConfigOC.OCFastMode = TIM_OCFAST_DISABLE;
  if (HAL_TIM_PWM_ConfigChannel(&htim3, &sConfigOC, TIM_CHANNEL_3) != HAL_OK)
  {
    Error_Handler();
  }
  HAL_TIM_MspPostInit(&htim3);

}

static void MX_TIM4_Init(void)
{

  TIM_MasterConfigTypeDef sMasterConfig = {0};
  TIM_OC_InitTypeDef sConfigOC = {0};

  htim4.Instance = TIM4;
  htim4.Init.Prescaler = 12;
  htim4.Init.CounterMode = TIM_COUNTERMODE_UP;
  htim4.Init.Period = 65535;
  htim4.Init.ClockDivision = TIM_CLOCKDIVISION_DIV1;
  htim4.Init.AutoReloadPreload = TIM_AUTORELOAD_PRELOAD_DISABLE;
  if (HAL_TIM_OC_Init(&htim4) != HAL_OK)
  {
    Error_Handler();
  }
  sMasterConfig.MasterOutputTrigger = TIM_TRGO_RESET;
  sMasterConfig.MasterSlaveMode = TIM_MASTERSLAVEMODE_DISABLE;
  if (HAL_TIMEx_MasterConfigSynchronization(&htim4, &sMasterConfig) != HAL_OK)
  {
    Error_Handler();
  }
  sConfigOC.OCMode = TIM_OCMODE_TIMING;
  sConfigOC.Pulse = 0;
  sConfigOC.OCPolarity = TIM_OCPOLARITY_HIGH;
  sConfigOC.OCFastMode = TIM_OCFAST_DISABLE;
  if (HAL_TIM_OC_ConfigChannel(&htim4, &sConfigOC, TIM_CHANNEL_1) != HAL_OK)
  {
    Error_Handler();
  }
  HAL_TIM_MspPostInit(&htim4);

}

static void MX_USART6_UART_Init(void)
{

  huart6.Instance = USART6;
  huart6.Init.BaudRate = 9600;
  huart6.Init.WordLength = UART_WORDLENGTH_8B;
  huart6.Init.StopBits = UART_STOPBITS_1;
  huart6.Init.Parity = UART_PARITY_NONE;
  huart6.Init.Mode = UART_MODE_TX_RX;
  huart6.Init.HwFlowCtl = UART_HWCONTROL_NONE;
  huart6.Init.OverSampling = UART_OVERSAMPLING_16;
  if (HAL_UART_Init(&huart6) != HAL_OK)
  {
    Error_Handler();
  }

}

static void MX_GPIO_Init(void)
{
  GPIO_InitTypeDef GPIO_InitStruct = {0};

  /* GPIO Ports Clock Enable */
  __HAL_RCC_GPIOA_CLK_ENABLE();
  __HAL_RCC_GPIOB_CLK_ENABLE();
  __HAL_RCC_GPIOE_CLK_ENABLE();
  __HAL_RCC_GPIOD_CLK_ENABLE();
  __HAL_RCC_GPIOC_CLK_ENABLE();

  /*Configure GPIO pin Output Level */
  HAL_GPIO_WritePin(MS3_GPIO_Port, MS3_Pin, GPIO_PIN_RESET);

  /*Configure GPIO pin Output Level */
  HAL_GPIO_WritePin(GPIOD, MS2_Pin|MS1_Pin|ENABLE_N_Pin|DIR_Pin
                          |STEP_Pin|GPIO_PIN_15, GPIO_PIN_RESET);

  /*Configure GPIO pin Output Level */
  HAL_GPIO_WritePin(GPIOA, GPIO_PIN_8|GPIO_PIN_9|GPIO_PIN_10|GPIO_PIN_15, GPIO_PIN_RESET);

  /*Configure GPIO pin : MS3_Pin */
  GPIO_InitStruct.Pin = MS3_Pin;
  GPIO_InitStruct.Mode = GPIO_MODE_OUTPUT_PP;
  GPIO_InitStruct.Pull = GPIO_NOPULL;
  GPIO_InitStruct.Speed = GPIO_SPEED_FREQ_LOW;
  HAL_GPIO_Init(MS3_GPIO_Port, &GPIO_InitStruct);

  /*Configure GPIO pins : MS2_Pin MS1_Pin ENABLE_N_Pin DIR_Pin
                           STEP_Pin PD15 */
  GPIO_InitStruct.Pin = MS2_Pin|MS1_Pin|ENABLE_N_Pin|DIR_Pin
                          |STEP_Pin|GPIO_PIN_15;
  GPIO_InitStruct.Mode = GPIO_MODE_OUTPUT_PP;
  GPIO_InitStruct.Pull = GPIO_NOPULL;
  GPIO_InitStruct.Speed = GPIO_SPEED_FREQ_LOW;
  HAL_GPIO_Init(GPIOD, &GPIO_InitStruct);

  /*Configure GPIO pins : PA8 PA9 PA10 PA15 */
  GPIO_InitStruct.Pin = GPIO_PIN_8|GPIO_PIN_9|GPIO_PIN_10|GPIO_PIN_15;
  GPIO_InitStruct.Mode = GPIO_MODE_OUTPUT_PP;
  GPIO_InitStruct.Pull = GPIO_NOPULL;
  GPIO_InitStruct.Speed = GPIO_SPEED_FREQ_LOW;
  HAL_GPIO_Init(GPIOA, &GPIO_InitStruct);

}

void Error_Handler(void)
{
  __disable_irq();
  while (1)
  {
  }
}
